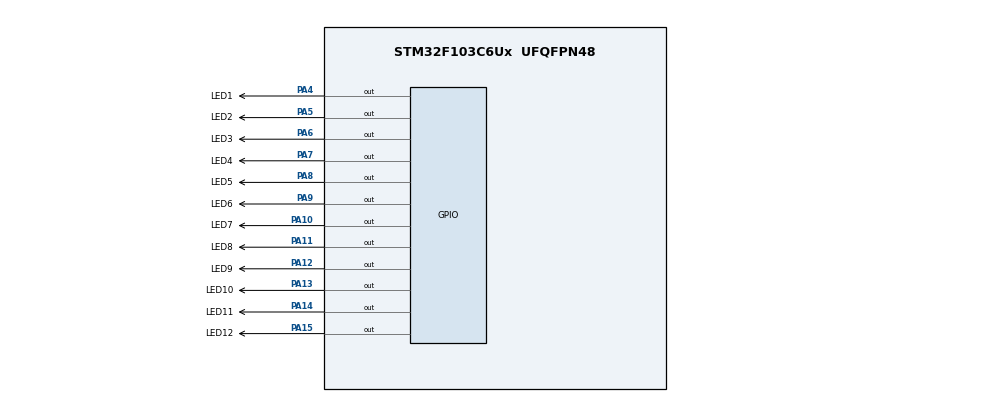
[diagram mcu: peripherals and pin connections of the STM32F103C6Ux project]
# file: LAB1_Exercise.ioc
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Mcu.Family=STM32F1
Mcu.Name=STM32F103C6Ux
Mcu.Package=UFQFPN48
NVIC.PriorityGroup=NVIC_PRIORITYGROUP_4
PA10.GPIO_Label=LED7
PA10.Signal=GPIO_Output
PA11.GPIO_Label=LED8
PA11.Signal=GPIO_Output
PA12.GPIO_Label=LED9
PA12.Signal=GPIO_Output
PA13.GPIO_Label=LED10
PA13.Signal=GPIO_Output
PA14.GPIO_Label=LED11
PA14.Signal=GPIO_Output
PA15.GPIO_Label=LED12
PA15.Signal=GPIO_Output
PA4.GPIO_Label=LED1
PA4.Signal=GPIO_Output
PA5.GPIO_Label=LED2
PA5.Signal=GPIO_Output
PA6.GPIO_Label=LED3
PA6.Signal=GPIO_Output
PA7.GPIO_Label=LED4
PA7.Signal=GPIO_Output
PA8.GPIO_Label=LED5
PA8.Signal=GPIO_Output
PA9.GPIO_Label=LED6
PA9.Signal=GPIO_Output
ProjectManager.HeapSize=0x200
ProjectManager.StackSize=0x400
ProjectManager.TargetToolchain=STM32CubeIDE
RCC.APB1Freq_Value=8000000
RCC.APB2Freq_Value=8000000
board=custom

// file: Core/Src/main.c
/* USER CODE BEGIN Header */
/**
  ******************************************************************************
  * @file           : main.c
  * @brief          : Main program body
  ******************************************************************************
  * @attention
  *
  * Copyright (c) 2025 STMicroelectronics.
  * All rights reserved.
  *
  * This software is licensed under terms that can be found in the LICENSE file
  * in the root directory of this software component.
  * If no LICENSE file comes with this software, it is provided AS-IS.
  *
  ******************************************************************************
  */
/* USER CODE END Header */
#include "main.h"

void SystemClock_Config(void);
static void MX_GPIO_Init(void);

/* USER CODE BEGIN 0 */
void clearAllClock(void) {
    HAL_GPIO_WritePin(GPIOA, LED1_Pin|LED2_Pin|LED3_Pin|LED4_Pin
                            |LED5_Pin|LED6_Pin|LED7_Pin|LED8_Pin
                            |LED9_Pin|LED10_Pin|LED11_Pin|LED12_Pin,
                            GPIO_PIN_RESET);
}
void setNumberOnClock(int index) {
    clearAllClock();  // Tắt hết trước
    HAL_GPIO_WritePin(GPIOA, (1 << index), GPIO_PIN_SET);  // Bật LED theo index
}

void updateClock(int hour, int minute, int second) {
    clearAllClock();

    int pos_sec  = second / 5 ;      // 0–11
    int pos_min  = minute / 5 ;      // 0–11
    int pos_hour = (hour % 12) ;

    uint16_t led_map[12] = {
        LED2_Pin,
        LED3_Pin,
        LED4_Pin,
        LED5_Pin,
        LED6_Pin,
        LED7_Pin,
        LED8_Pin,
        LED9_Pin,
        LED10_Pin,
        LED11_Pin,
		LED12_Pin,
		LED1_Pin
    };

    HAL_GPIO_WritePin(GPIOA, led_map[pos_sec], GPIO_PIN_SET);
    HAL_GPIO_WritePin(GPIOA, led_map[pos_min], GPIO_PIN_SET);
    HAL_GPIO_WritePin(GPIOA, led_map[pos_hour], GPIO_PIN_SET);
}
/* USER CODE END 0 */

int main(void)
{

  /* MCU Configuration--------------------------------------------------------*/

  /* Reset of all peripherals, Initializes the Flash interface and the Systick. */
  HAL_Init();

  /* Configure the system clock */
  SystemClock_Config();

  /* Initialize all configured peripherals */
  MX_GPIO_Init();

  /* Infinite loop */
  /* USER CODE BEGIN WHILE */
  int hour = 3, minute = 50, second = 0;

  while (1)
  {
    updateClock(hour, minute, second);

    second++;
    if (second >= 60) {
        second = 0;
        minute++;
    }
    if (minute >= 60) {
        minute = 0;
        hour++;
    }
    if (hour >= 12) {
        hour = 0;
    }
    HAL_Delay(20);   // mỗi giây
  }
}
void SystemClock_Config(void)
{
  RCC_OscInitTypeDef RCC_OscInitStruct = {0};
  RCC_ClkInitTypeDef RCC_ClkInitStruct = {0};

  /** Initializes the RCC Oscillators according to the specified parameters
  * in the RCC_OscInitTypeDef structure.
  */
  RCC_OscInitStruct.OscillatorType = RCC_OSCILLATORTYPE_HSI;
  RCC_OscInitStruct.HSIState = RCC_HSI_ON;
  RCC_OscInitStruct.HSICalibrationValue = RCC_HSICALIBRATION_DEFAULT;
  RCC_OscInitStruct.PLL.PLLState = RCC_PLL_NONE;
  if (HAL_RCC_OscConfig(&RCC_OscInitStruct) != HAL_OK)
  {
    Error_Handler();
  }

  /** Initializes the CPU, AHB and APB buses clocks
  */
  RCC_ClkInitStruct.ClockType = RCC_CLOCKTYPE_HCLK|RCC_CLOCKTYPE_SYSCLK
                              |RCC_CLOCKTYPE_PCLK1|RCC_CLOCKTYPE_PCLK2;
  RCC_ClkInitStruct.SYSCLKSource = RCC_SYSCLKSOURCE_HSI;
  RCC_ClkInitStruct.AHBCLKDivider = RCC_SYSCLK_DIV1;
  RCC_ClkInitStruct.APB1CLKDivider = RCC_HCLK_DIV1;
  RCC_ClkInitStruct.APB2CLKDivider = RCC_HCLK_DIV1;

  if (HAL_RCC_ClockConfig(&RCC_ClkInitStruct, FLASH_LATENCY_0) != HAL_OK)
  {
    Error_Handler();
  }
}

static void MX_GPIO_Init(void)
{
  GPIO_InitTypeDef GPIO_InitStruct = {0};

  /* GPIO Ports Clock Enable */
  __HAL_RCC_GPIOA_CLK_ENABLE();

  /*Configure GPIO pin Output Level */
  HAL_GPIO_WritePin(GPIOA, LED1_Pin|LED2_Pin|LED3_Pin|LED4_Pin
                          |LED5_Pin|LED6_Pin|LED7_Pin|LED8_Pin
                          |LED9_Pin|LED10_Pin|LED11_Pin|LED12_Pin, GPIO_PIN_RESET);

  /*Configure GPIO pins : LED1_Pin LED2_Pin LED3_Pin LED4_Pin
                           LED5_Pin LED6_Pin LED7_Pin LED8_Pin
                           LED9_Pin LED10_Pin LED11_Pin LED12_Pin */
  GPIO_InitStruct.Pin = LED1_Pin|LED2_Pin|LED3_Pin|LED4_Pin
                          |LED5_Pin|LED6_Pin|LED7_Pin|LED8_Pin
                          |LED9_Pin|LED10_Pin|LED11_Pin|LED12_Pin;
  GPIO_InitStruct.Mode = GPIO_MODE_OUTPUT_PP;
  GPIO_InitStruct.Pull = GPIO_NOPULL;
  GPIO_InitStruct.Speed = GPIO_SPEED_FREQ_LOW;
  HAL_GPIO_Init(GPIOA, &GPIO_InitStruct);

}

void Error_Handler(void)
{
  __disable_irq();
  while (1)
  {
  }
}
